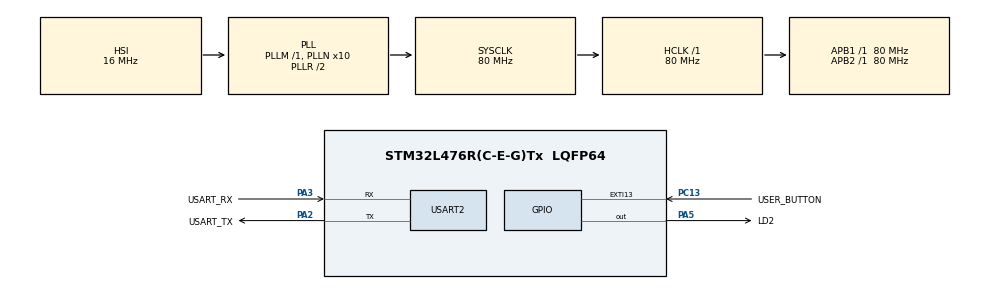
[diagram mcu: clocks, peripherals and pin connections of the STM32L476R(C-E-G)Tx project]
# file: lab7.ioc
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Mcu.Family=STM32L4
Mcu.Name=STM32L476R(C-E-G)Tx
Mcu.Package=LQFP64
NVIC.EXTI15_10_IRQn=true\:8\:0\:true\:false\:true\:true\:true\:true
NVIC.PriorityGroup=NVIC_PRIORITYGROUP_4
NVIC.USART2_IRQn=true\:12\:0\:true\:false\:true\:true\:true\:true
PA13\ (JTMS-SWDIO).GPIO_Label=TMS
PA13\ (JTMS-SWDIO).Mode=Serial_Wire
PA13\ (JTMS-SWDIO).Signal=SYS_JTMS-SWDIO
PA14\ (JTCK-SWCLK).GPIO_Label=TCK
PA14\ (JTCK-SWCLK).Mode=Serial_Wire
PA14\ (JTCK-SWCLK).Signal=SYS_JTCK-SWCLK
PA2.GPIO_Label=USART_TX
PA2.GPIO_Mode=GPIO_MODE_AF_PP
PA2.GPIO_PuPd=GPIO_NOPULL
PA2.GPIO_Speed=GPIO_SPEED_FREQ_VERY_HIGH
PA2.Mode=Asynchronous
PA2.Signal=USART2_TX
PA3.GPIO_Label=USART_RX
PA3.GPIO_Mode=GPIO_MODE_AF_PP
PA3.GPIO_PuPd=GPIO_NOPULL
PA3.GPIO_Speed=GPIO_SPEED_FREQ_VERY_HIGH
PA3.Mode=Asynchronous
PA3.Signal=USART2_RX
PA5.GPIO_Label=LD2
PA5.GPIO_ModeDefaultOutputPP=GPIO_MODE_OUTPUT_PP
PA5.GPIO_PuPd=GPIO_NOPULL
PA5.GPIO_Speed=GPIO_SPEED_FREQ_LOW
PA5.Signal=GPIO_Output
PB3\ (JTDO-TRACESWO).GPIO_Label=SWO
PB3\ (JTDO-TRACESWO).Signal=SYS_JTDO-SWO
PC13.GPIO_Label=USER_BUTTON
PC13.GPIO_PuPd=GPIO_PULLDOWN
PC13.Signal=GPXTI13
PC14-OSC32_IN\ (PC14).Signal=RCC_OSC32_IN
PC15-OSC32_OUT\ (PC15).Signal=RCC_OSC32_OUT
PH0-OSC_IN\ (PH0).Signal=RCC_OSC_IN
PH1-OSC_OUT\ (PH1).Signal=RCC_OSC_OUT
ProjectManager.HeapSize=0x200
ProjectManager.StackSize=0x400
ProjectManager.TargetToolchain=STM32CubeIDE
RCC.ADCFreq_Value=64000000
RCC.AHBFreq_Value=80000000
RCC.APB1Freq_Value=80000000
RCC.APB1TimFreq_Value=80000000
RCC.APB2Freq_Value=80000000
RCC.APB2TimFreq_Value=80000000
RCC.CortexFreq_Value=80000000
RCC.HCLKFreq_Value=80000000
RCC.HSE_VALUE=8000000
RCC.HSI_VALUE=16000000
RCC.LSE_VALUE=32768
RCC.MSI_VALUE=4000000
RCC.PLLN=10
RCC.PLLSourceVirtual=RCC_PLLSOURCE_HSI
RCC.PREFETCH_ENABLE=1
RCC.SYSCLKFreq_VALUE=80000000
RCC.SYSCLKSource=RCC_SYSCLKSOURCE_PLLCLK
RCC.USBFreq_Value=64000000
RCC.VCOOutputFreq_Value=160000000
USART2.VirtualMode-Asynchronous=VM_ASYNC
board=NUCLEO-L476RG

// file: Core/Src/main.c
/* USER CODE BEGIN Header */
/**
  ******************************************************************************
  * @file           : main.c
  * @brief          : Main program body
  ******************************************************************************
  * @attention
  *
  * Copyright (c) 2026 STMicroelectronics.
  * All rights reserved.
  *
  * This software is licensed under terms that can be found in the LICENSE file
  * in the root directory of this software component.
  * If no LICENSE file comes with this software, it is provided AS-IS.
  *
  ******************************************************************************
  */
/* USER CODE END Header */
#include "main.h"

/* USER CODE BEGIN Includes */
#include <stdio.h>
#include <stdbool.h>
#include <string.h>
/* USER CODE END Includes */

UART_HandleTypeDef huart2;

void SystemClock_Config(void);
static void MX_GPIO_Init(void);
static void MX_USART2_UART_Init(void);

/* USER CODE BEGIN 0 */

typedef enum {
  MESSAGE_1,
  MESSAGE_2,
  DONE
}sender_state;

uint8_t uart_rx_buffer;
void HAL_UART_RxCpltCallback(UART_HandleTypeDef *huart)
{
	if (huart == &huart2){
		line_append(uart_rx_buffer);
		HAL_UART_Receive_IT(&huart2, &uart_rx_buffer, 1);
	}
}

int __io_putchar(int ch)
{
    if (ch == '\n') {
        uint8_t ch2 = '\r';
        HAL_UART_Transmit(&huart2, &ch2, 1, HAL_MAX_DELAY);
    }

    HAL_UART_Transmit(&huart2, (uint8_t*)&ch, 1, HAL_MAX_DELAY);
    return 1;
}

int message_number = 0;

void send_next_message(void)
{
  static char message[] = "Hello World!\r\n";
  static char message2[] = "Forbot jest super!\r\n";

  switch (message_number)
  {
  case MESSAGE_1:
    HAL_UART_Transmit_IT(&huart2, (uint8_t*)message, strlen(message));
    message_number = MESSAGE_2;
    break;
  case MESSAGE_2:
    HAL_UART_Transmit_IT(&huart2, (uint8_t*)message2, strlen(message2));
    message_number = DONE;
    break;
  default:
    break;
  }

}

void HAL_UART_TxCpltCallback(UART_HandleTypeDef *huart)
{
  if (huart == &huart2) {
    send_next_message();
  }
}

#define LINE_MAX_LENGTH 80

static char line_buffer[LINE_MAX_LENGTH + 1];
static uint32_t line_length;

void line_append(uint8_t value)
{
  if (value == '\r' || value == '\n') {
    // odebraliśmy znak końca linii
    if (line_length > 0) {
      // dodajemy 0 na końcu linii
      line_buffer[line_length] = '\0';
      // przetwarzamy dane
      if (strcmp(line_buffer, "on") == 0) {
        HAL_GPIO_WritePin(LD2_GPIO_Port, LD2_Pin, GPIO_PIN_SET);
      } else if (strcmp(line_buffer, "off") == 0) {
        HAL_GPIO_WritePin(LD2_GPIO_Port, LD2_Pin, GPIO_PIN_RESET);
      }

      // zaczynamy zbieranie danych od nowa
      line_length = 0;
    }
  }
  else {
    if (line_length >= LINE_MAX_LENGTH) {
      // za dużo danych, usuwamy wszystko co odebraliśmy dotychczas
      line_length = 0;
    }
    // dopisujemy wartość do bufora
    line_buffer[line_length++] = value;
  }
}

//bool is_button_pressed(void)
//{
//  if (HAL_GPIO_ReadPin(USER_BUTTON_GPIO_Port, USER_BUTTON_Pin) == GPIO_PIN_RESET) {
//    return true;
//  } else {
//    return false;
//  }
//}

/* USER CODE BEGIN 0 */
volatile uint32_t push_counter;

void HAL_GPIO_EXTI_Callback(uint16_t GPIO_Pin)
{
  if (GPIO_Pin == USER_BUTTON_Pin) {
    push_counter++;
  }
}

/* USER CODE END 0 */

int main(void)
{

  /* MCU Configuration--------------------------------------------------------*/

  /* Reset of all peripherals, Initializes the Flash interface and the Systick. */
  HAL_Init();

  /* Configure the system clock */
  SystemClock_Config();

  /* Initialize all configured peripherals */
  MX_GPIO_Init();
  MX_USART2_UART_Init();
  /* USER CODE BEGIN 2 */

//  char message[] = "Hello World!\r\n";
//  HAL_UART_Transmit_IT(&huart2, (uint8_t*)message, strlen(message));
//  send_next_message();

  /* USER CODE END 2 */

  /* Infinite loop */
  /* USER CODE BEGIN WHILE */
  HAL_UART_Receive_IT(&huart2, &uart_rx_buffer, 1);

  //uint32_t old_push_counter = push_counter;
  while (1)
  {
//    if (old_push_counter != push_counter) {
//      old_push_counter = push_counter;
//      printf("counter = %lu\n", old_push_counter);

    //}
    /* USER CODE END WHILE */

  }
}
void SystemClock_Config(void)
{
  RCC_OscInitTypeDef RCC_OscInitStruct = {0};
  RCC_ClkInitTypeDef RCC_ClkInitStruct = {0};

  /** Configure the main internal regulator output voltage
  */
  if (HAL_PWREx_ControlVoltageScaling(PWR_REGULATOR_VOLTAGE_SCALE1) != HAL_OK)
  {
    Error_Handler();
  }

  /** Initializes the RCC Oscillators according to the specified parameters
  * in the RCC_OscInitTypeDef structure.
  */
  RCC_OscInitStruct.OscillatorType = RCC_OSCILLATORTYPE_HSI;
  RCC_OscInitStruct.HSIState = RCC_HSI_ON;
  RCC_OscInitStruct.HSICalibrationValue = RCC_HSICALIBRATION_DEFAULT;
  RCC_OscInitStruct.PLL.PLLState = RCC_PLL_ON;
  RCC_OscInitStruct.PLL.PLLSource = RCC_PLLSOURCE_HSI;
  RCC_OscInitStruct.PLL.PLLM = 1;
  RCC_OscInitStruct.PLL.PLLN = 10;
  RCC_OscInitStruct.PLL.PLLP = RCC_PLLP_DIV7;
  RCC_OscInitStruct.PLL.PLLQ = RCC_PLLQ_DIV2;
  RCC_OscInitStruct.PLL.PLLR = RCC_PLLR_DIV2;
  if (HAL_RCC_OscConfig(&RCC_OscInitStruct) != HAL_OK)
  {
    Error_Handler();
  }

  /** Initializes the CPU, AHB and APB buses clocks
  */
  RCC_ClkInitStruct.ClockType = RCC_CLOCKTYPE_HCLK|RCC_CLOCKTYPE_SYSCLK
                              |RCC_CLOCKTYPE_PCLK1|RCC_CLOCKTYPE_PCLK2;
  RCC_ClkInitStruct.SYSCLKSource = RCC_SYSCLKSOURCE_PLLCLK;
  RCC_ClkInitStruct.AHBCLKDivider = RCC_SYSCLK_DIV1;
  RCC_ClkInitStruct.APB1CLKDivider = RCC_HCLK_DIV1;
  RCC_ClkInitStruct.APB2CLKDivider = RCC_HCLK_DIV1;

  if (HAL_RCC_ClockConfig(&RCC_ClkInitStruct, FLASH_LATENCY_4) != HAL_OK)
  {
    Error_Handler();
  }
}

static void MX_USART2_UART_Init(void)
{

  huart2.Instance = USART2;
  huart2.Init.BaudRate = 115200;
  huart2.Init.WordLength = UART_WORDLENGTH_8B;
  huart2.Init.StopBits = UART_STOPBITS_1;
  huart2.Init.Parity = UART_PARITY_NONE;
  huart2.Init.Mode = UART_MODE_TX_RX;
  huart2.Init.HwFlowCtl = UART_HWCONTROL_NONE;
  huart2.Init.OverSampling = UART_OVERSAMPLING_16;
  huart2.Init.OneBitSampling = UART_ONE_BIT_SAMPLE_DISABLE;
  huart2.AdvancedInit.AdvFeatureInit = UART_ADVFEATURE_NO_INIT;
  if (HAL_UART_Init(&huart2) != HAL_OK)
  {
    Error_Handler();
  }

}

static void MX_GPIO_Init(void)
{
  GPIO_InitTypeDef GPIO_InitStruct = {0};

  /* GPIO Ports Clock Enable */
  __HAL_RCC_GPIOC_CLK_ENABLE();
  __HAL_RCC_GPIOH_CLK_ENABLE();
  __HAL_RCC_GPIOA_CLK_ENABLE();
  __HAL_RCC_GPIOB_CLK_ENABLE();

  /*Configure GPIO pin Output Level */
  HAL_GPIO_WritePin(LD2_GPIO_Port, LD2_Pin, GPIO_PIN_RESET);

  /*Configure GPIO pin : USER_BUTTON_Pin */
  GPIO_InitStruct.Pin = USER_BUTTON_Pin;
  GPIO_InitStruct.Mode = GPIO_MODE_IT_RISING;
  GPIO_InitStruct.Pull = GPIO_PULLDOWN;
  HAL_GPIO_Init(USER_BUTTON_GPIO_Port, &GPIO_InitStruct);

  /*Configure GPIO pin : LD2_Pin */
  GPIO_InitStruct.Pin = LD2_Pin;
  GPIO_InitStruct.Mode = GPIO_MODE_OUTPUT_PP;
  GPIO_InitStruct.Pull = GPIO_NOPULL;
  GPIO_InitStruct.Speed = GPIO_SPEED_FREQ_LOW;
  HAL_GPIO_Init(LD2_GPIO_Port, &GPIO_InitStruct);

  /* EXTI interrupt init*/
  HAL_NVIC_SetPriority(EXTI15_10_IRQn, 8, 0);
  HAL_NVIC_EnableIRQ(EXTI15_10_IRQn);

}

void Error_Handler(void)
{
  __disable_irq();
  while (1)
  {
  }
}
